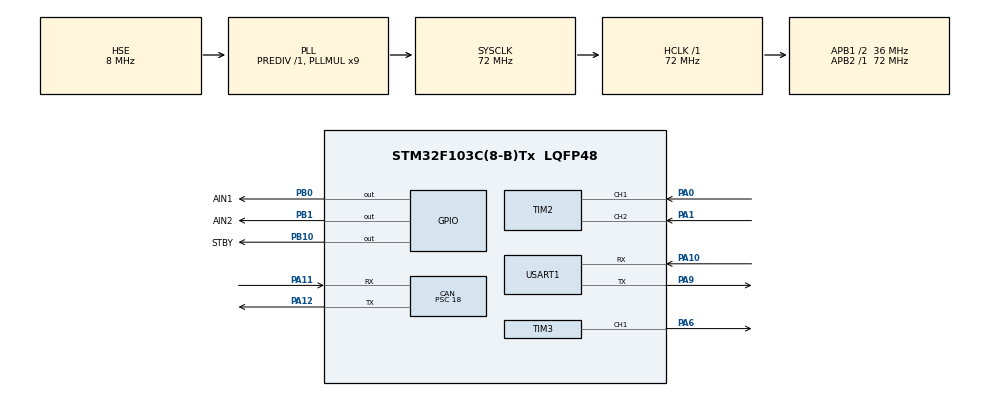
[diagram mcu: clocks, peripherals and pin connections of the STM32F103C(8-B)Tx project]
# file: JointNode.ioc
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CAN.BS1=CAN_BS1_13TQ
CAN.BS2=CAN_BS2_2TQ
CAN.CalculateBaudRate=125000
CAN.CalculateTimeBit=8000
CAN.CalculateTimeQuantum=500.0
CAN.NART=ENABLE
CAN.Prescaler=18
Mcu.Family=STM32F1
Mcu.Name=STM32F103C(8-B)Tx
Mcu.Package=LQFP48
NVIC.PriorityGroup=NVIC_PRIORITYGROUP_4
NVIC.USB_LP_CAN1_RX0_IRQn=true\:0\:0\:false\:false\:true\:true\:true\:true
PA0-WKUP.Signal=S_TIM2_CH1_ETR
PA1.Signal=S_TIM2_CH2
PA10.Mode=Asynchronous
PA10.Signal=USART1_RX
PA11.Mode=CAN_Activate
PA11.Signal=CAN_RX
PA12.Mode=CAN_Activate
PA12.Signal=CAN_TX
PA13.Mode=Serial_Wire
PA13.Signal=SYS_JTMS-SWDIO
PA14.Mode=Serial_Wire
PA14.Signal=SYS_JTCK-SWCLK
PA6.Signal=S_TIM3_CH1
PA9.Mode=Asynchronous
PA9.Signal=USART1_TX
PB0.GPIO_Label=AIN1
PB0.Signal=GPIO_Output
PB1.GPIO_Label=AIN2
PB1.Signal=GPIO_Output
PB10.GPIO_Label=STBY
PB10.Signal=GPIO_Output
PD0-OSC_IN.Mode=HSE-External-Oscillator
PD0-OSC_IN.Signal=RCC_OSC_IN
PD1-OSC_OUT.Mode=HSE-External-Oscillator
PD1-OSC_OUT.Signal=RCC_OSC_OUT
ProjectManager.HeapSize=0x200
ProjectManager.StackSize=0x400
ProjectManager.TargetToolchain=CMake
RCC.AHBFreq_Value=72000000
RCC.APB1CLKDivider=RCC_HCLK_DIV2
RCC.APB1Freq_Value=36000000
RCC.APB1TimFreq_Value=72000000
RCC.APB2Freq_Value=72000000
RCC.APB2TimFreq_Value=72000000
RCC.HCLKFreq_Value=72000000
RCC.PLLMUL=RCC_PLL_MUL9
RCC.PLLSourceVirtual=RCC_PLLSOURCE_HSE
RCC.SYSCLKFreq_VALUE=72000000
RCC.SYSCLKSource=RCC_SYSCLKSOURCE_PLLCLK
RCC.USBFreq_Value=72000000
SH.S_TIM2_CH1_ETR.0=TIM2_CH1,Encoder_Interface
SH.S_TIM2_CH2.0=TIM2_CH2,Encoder_Interface
SH.S_TIM3_CH1.0=TIM3_CH1,PWM Generation1 CH1
TIM2.EncoderMode=TIM_ENCODERMODE_TI12
TIM3.Channel-PWM\ Generation1\ CH1=TIM_CHANNEL_1
TIM3.Period=999
TIM3.Prescaler=71
USART1.VirtualMode=VM_ASYNC
board=custom

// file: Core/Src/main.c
/* USER CODE BEGIN Header */
/**
  ******************************************************************************
  * @file           : main.c
  * @brief          : Main program body
  ******************************************************************************
  * @attention
  *
  * Copyright (c) 2026 STMicroelectronics.
  * All rights reserved.
  *
  * This software is licensed under terms that can be found in the LICENSE file
  * in the root directory of this software component.
  * If no LICENSE file comes with this software, it is provided AS-IS.
  *
  ******************************************************************************
  */
/* USER CODE END Header */
#include "main.h"
#include "can.h"
#include "tim.h"
#include "usart.h"
#include "gpio.h"

/* USER CODE BEGIN Includes */

#include <string.h>

#include "can_driver.h"
#include "protocol.h"
#include "app.h"
#include "encoder.h"
#include "motor_control.h"
#include "state_machine.h"
#include "stdio.h"
#include "../../Application/PID/pid.h"

/* USER CODE END Includes */

void SystemClock_Config(void);

int main(void)
{

  /* MCU Configuration--------------------------------------------------------*/

  /* Reset of all peripherals, Initializes the Flash interface and the Systick. */
  HAL_Init();

  /* Configure the system clock */
  SystemClock_Config();

  /* Initialize all configured peripherals */
  MX_GPIO_Init();
  MX_CAN_Init();
  MX_TIM2_Init();
  MX_TIM3_Init();
  MX_USART1_UART_Init();
  /* USER CODE BEGIN 2 */

  CAN_Driver_Init();

  Encoder_Init();
  Motor_Init();
  PID_Init(&pid);
  HAL_TIM_PWM_Start(&htim3,TIM_CHANNEL_2);
  HAL_TIM_Encoder_Start(&htim2,TIM_CHANNEL_ALL);

  StateMachine_SetState(NODE_INIT);

  /* USER CODE END 2 */

  /* Infinite loop */
  /* USER CODE BEGIN WHILE */
  while (1)
  {
    StateMachine_Update();

    HAL_Delay(100);

    /* USER CODE END WHILE */

  }
}

void SystemClock_Config(void)
{
  RCC_OscInitTypeDef RCC_OscInitStruct = {0};
  RCC_ClkInitTypeDef RCC_ClkInitStruct = {0};

  /** Initializes the RCC Oscillators according to the specified parameters
  * in the RCC_OscInitTypeDef structure.
  */
  RCC_OscInitStruct.OscillatorType = RCC_OSCILLATORTYPE_HSE;
  RCC_OscInitStruct.HSEState = RCC_HSE_ON;
  RCC_OscInitStruct.HSEPredivValue = RCC_HSE_PREDIV_DIV1;
  RCC_OscInitStruct.HSIState = RCC_HSI_ON;
  RCC_OscInitStruct.PLL.PLLState = RCC_PLL_ON;
  RCC_OscInitStruct.PLL.PLLSource = RCC_PLLSOURCE_HSE;
  RCC_OscInitStruct.PLL.PLLMUL = RCC_PLL_MUL9;
  if (HAL_RCC_OscConfig(&RCC_OscInitStruct) != HAL_OK)
  {
    Error_Handler();
  }

  /** Initializes the CPU, AHB and APB buses clocks
  */
  RCC_ClkInitStruct.ClockType = RCC_CLOCKTYPE_HCLK|RCC_CLOCKTYPE_SYSCLK
                              |RCC_CLOCKTYPE_PCLK1|RCC_CLOCKTYPE_PCLK2;
  RCC_ClkInitStruct.SYSCLKSource = RCC_SYSCLKSOURCE_PLLCLK;
  RCC_ClkInitStruct.AHBCLKDivider = RCC_SYSCLK_DIV1;
  RCC_ClkInitStruct.APB1CLKDivider = RCC_HCLK_DIV2;
  RCC_ClkInitStruct.APB2CLKDivider = RCC_HCLK_DIV1;

  if (HAL_RCC_ClockConfig(&RCC_ClkInitStruct, FLASH_LATENCY_2) != HAL_OK)
  {
    Error_Handler();
  }
}

void Error_Handler(void)
{
    __disable_irq();
    while (1)
    {
    }
  }
